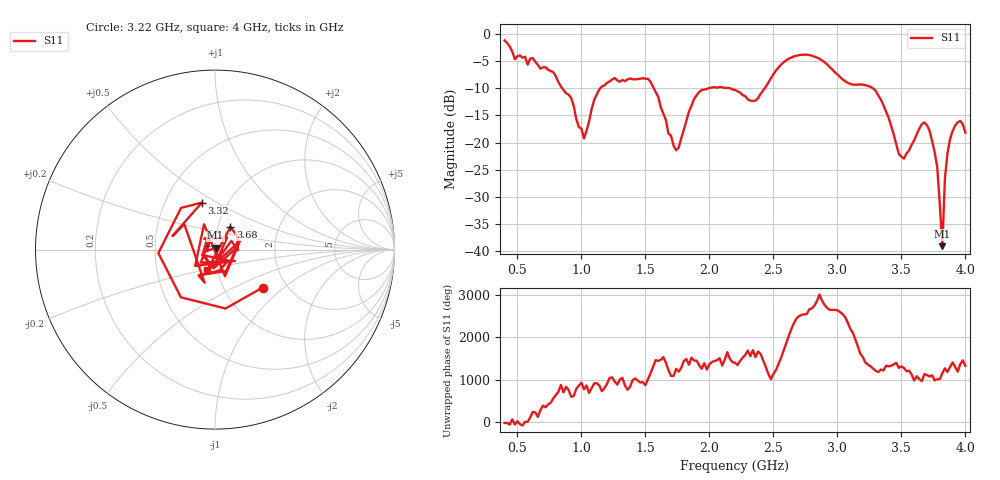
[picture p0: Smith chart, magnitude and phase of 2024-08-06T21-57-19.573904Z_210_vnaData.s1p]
!Created with skrf (http://scikit-rf.org).
# Hz S RI R 50.0
!freq ReS11 ImS11
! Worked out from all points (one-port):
!   181 points, 400 MHz to 4 GHz, reference 50 ohm
!   lowest |S11| = -39.2 dB at 3.82 GHz (marker M1), VSWR 1.02, Z = 50.3 + j1.07 ohm
!   |S11| at or under -10 dB: 851.5 MHz to 1.146 GHz (294.9 MHz wide, 29.5 % of centre); 1.566 GHz to 1.991 GHz (424.2 MHz wide, 23.9 % of centre); 3.28 GHz to end of sweep (the widest 3 of 4)
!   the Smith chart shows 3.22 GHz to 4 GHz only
!   S11 on the Smith chart (normalised r, x): 3.22 GHz: 1.51, -0.72; 3.32 GHz: 0.76, +0.43; 3.68 GHz: 1.15, +0.30; 4 GHz: 0.90, -0.21
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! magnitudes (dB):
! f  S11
! 400 MHz  -1.1
! 480 MHz  -4.6
! 620 MHz  -4.4
! 860 MHz  -10.3
! 920 MHz  -11.8
! 1.02 GHz  -19.2
! 1.14 GHz  -10.2
! 1.3 GHz  -8.8
! 1.52 GHz  -8.2
! 1.76 GHz  -21.0
! 1.92 GHz  -10.7
! 2.2 GHz  -10.3
! 2.36 GHz  -12.3
! 2.66 GHz  -4.1
! 2.86 GHz  -4.5
! 3.1 GHz  -9.2
! 3.22 GHz  -9.4
! 3.32 GHz  -11.3
! 3.48 GHz  -22.1
! 3.56 GHz  -21.5
! 3.68 GHz  -16.3
! 3.72 GHz  -17.8
! 3.78 GHz  -24.6
! 3.82 GHz  -39.2
! 3.84 GHz  -26.7
! 3.88 GHz  -19.4
! 3.96 GHz  -16.0
! 4 GHz  -18.2
